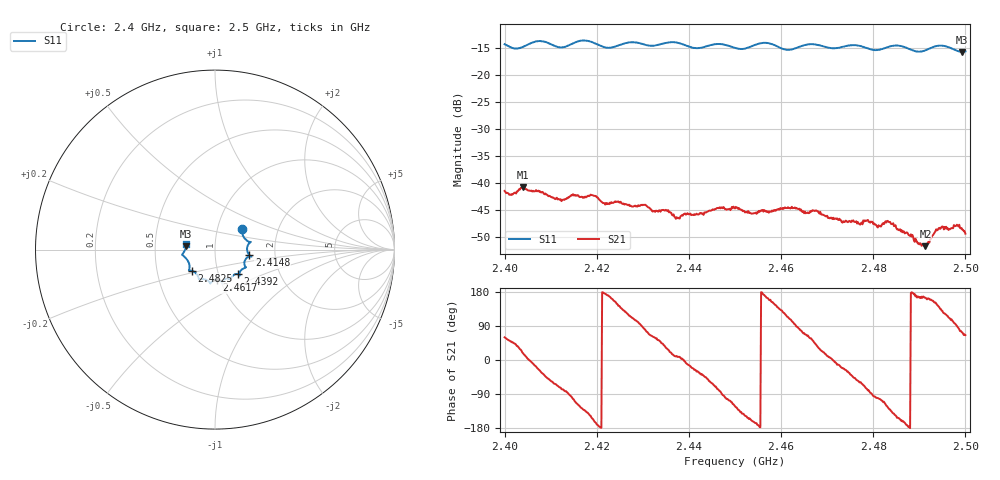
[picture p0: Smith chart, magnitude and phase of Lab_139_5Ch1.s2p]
# Hz S RI R
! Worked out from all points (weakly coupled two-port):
!   601 points, 2.4 GHz to 2.5 GHz, reference 50 ohm
!   highest |S21| = -40.80 dB at 2.404 GHz (marker M1); lowest = -51.7 dB at 2.4913 GHz (marker M2)
!   lowest |S11| = -15.8 dB at 2.4993 GHz (marker M3), VSWR 1.39, Z = 36.1 + j1.41 ohm
!   |S11| at or under -10 dB: start of sweep to end of sweep
!   S12 and S22 are empty: the file has one direction only
!   S11 on the Smith chart (normalised r, x): 2.4 GHz: 1.32, +0.32; 2.4148 GHz: 1.47, -0.10; 2.4392 GHz: 1.24, -0.35; 2.4617 GHz: 0.96, -0.33; 2.4825 GHz: 0.75, -0.18; 2.5 GHz: 0.72, +0.05
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2.4e9  0.1521 0.1158  0.00425 0.00732  0 0  0 0
2.404e9  0.1722 0.0547  0.00867 0.00283  0 0  0 0
2.407667e9  0.2 0.0428  0.0074 -0.00396  0 0  0 0
2.412e9  0.1788 0.00667  0.00211 -0.00667  0 0  0 0
2.414833e9  0.1918 -0.0316  -0.00173 -0.0077  0 0  0 0
2.416667e9  0.2024 -0.0397  -0.00446 -0.006  0 0  0 0
2.419167e9  0.1952 -0.0366  -0.00703 -0.00316  0 0  0 0
2.422333e9  0.1668 -0.06  -0.00642 0.00106  0 0  0 0
2.433333e9  0.1369 -0.1298  0.0033 0.00432  0 0  0 0
2.4375e9  0.1371 -0.142  0.00469 0.000678  0 0  0 0
2.439167e9  0.1285 -0.1361  0.00523 -0.000356  0 0  0 0
2.45e9  0.0712 -0.1618  -0.00309 -0.00494  0 0  0 0
2.456667e9  0.0436 -0.1919  -0.00534 0.00118  0 0  0 0
2.461667e9  0.00848 -0.1693  -0.00206 0.0055  0 0  0 0
2.466667e9  -0.0263 -0.1897  0.00322 0.00449  0 0  0 0
2.4735e9  -0.0756 -0.1649  0.0041 -0.00172  0 0  0 0
2.4825e9  -0.1306 -0.1179  -0.00175 -0.00393  0 0  0 0
2.483333e9  -0.1381 -0.1167  -0.00266 -0.00347  0 0  0 0
2.491333e9  -0.1605 -0.0499  -0.00252 0.000705  0 0  0 0
2.494667e9  -0.1833 -0.0278  -0.00268 0.00273  0 0  0 0
2.499333e9  -0.1614 0.019  0.0011 0.00355  0 0  0 0
2.5e9  -0.1612 0.031  0.0014 0.00311  0 0  0 0
